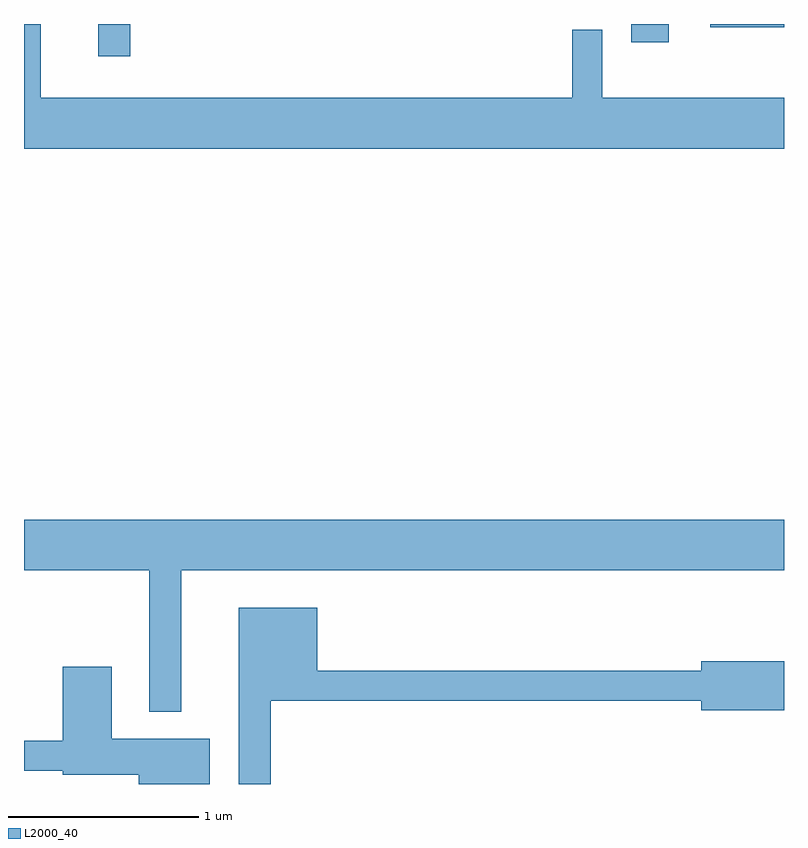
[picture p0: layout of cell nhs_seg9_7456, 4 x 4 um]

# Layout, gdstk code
import gdstk
lib = gdstk.Library(unit=1e-6, precision=1e-09)
def R(c, l, rs):  # rectangles x0, y0, x1, y1
    for r in rs: c.add(gdstk.rectangle(r[:2], r[2:], *l))
def P(c, l, *ps):  # polygons
    for p in ps: c.add(gdstk.Polygon(p, *l))
L2000_40 = (2000, 40)

nhs_seg9_7456 = lib.new_cell('nhs_seg9_7456')
R(nhs_seg9_7456, L2000_40, [(406.001,2032.263,406.169,2032.432), (408.806,2032.336,409.004,2032.432), (409.223,2032.416,409.611,2032.432)])
P(nhs_seg9_7456, L2000_40, [(409.611,2032.044),(408.654,2032.044),(408.654,2032.403),(408.496,2032.403),(408.496,2032.044),(405.699,2032.044),(405.699,2032.432),(405.611,2032.432),(405.611,2031.776),(409.611,2031.776)],
  [(406.439,2029.556),(409.611,2029.556),(409.611,2029.824),(405.611,2029.824),(405.611,2029.556),(406.271,2029.556),(406.271,2028.813),(406.439,2028.813)],
  [(406.909,2028.871),(409.176,2028.871),(409.176,2028.821),(409.611,2028.821),(409.611,2029.079),(409.176,2029.079),(409.176,2029.029),(407.154,2029.029),(407.154,2029.359),(406.741,2029.359),(406.741,2028.432),(406.909,2028.432)],
  [(406.589,2028.669),(406.074,2028.669),(406.074,2029.049),(405.816,2029.049),(405.816,2028.659),(405.611,2028.659),(405.611,2028.501),(405.816,2028.501),(405.816,2028.481),(406.216,2028.481),(406.216,2028.432),(406.589,2028.432)])

lib.write_gds('nhs_seg9_7456.gds')
